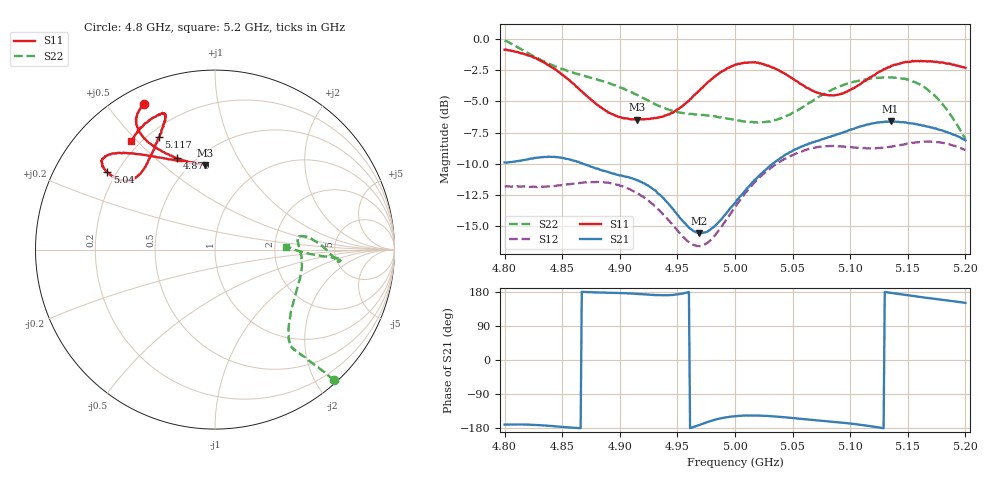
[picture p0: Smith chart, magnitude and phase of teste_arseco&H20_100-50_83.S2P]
! Network Analyzer HP8722D
! Hewlett-Packard
! Data name: Linha & Wilkinson
! Saver's name: Rodrigo Anjos
! Comments: Teste da utilização de aquisição
! continua pelo VNA HP8722D
! Time and date: 6/5/2025 13:15
!  Frequency  S11  S21  S12  S22
# HZ  S  MA R 50
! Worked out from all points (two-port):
!   401 points, 4.8 GHz to 5.2 GHz, reference 50 ohm
!   highest |S21| = -6.60 dB at 5.135 GHz (marker M1); lowest = -15.5 dB at 4.969 GHz (marker M2)
!   |S21| within 3 dB of the highest: 4.822 GHz to 4.853 GHz (30.6 MHz wide, 0.633 % of centre); 5.039 GHz to end of sweep
!   lowest |S11| = -6.5 dB at 4.915 GHz (marker M3), VSWR 2.81, Z = 29 + j35.4 ohm
!   |S11| at or under -10 dB: nowhere
!   |S22| runs from -8.0 to -0.1 dB; largest |S21 - S12| = 0.83
!   S11 on the Smith chart (normalised r, x): 4.8 GHz: 0.07, +0.62; 4.879 GHz: 0.40, +0.59; 5.04 GHz: 0.17, +0.31; 5.117 GHz: 0.24, +0.59; 5.2 GHz: 0.16, +0.48
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4.8e9  0.904 115.8  0.3202 -170.5  0.2569 -86.1  0.984 -47.5
4.832e9  0.8136 122.3  0.3362 -172.3  0.2561 -77.5  0.8196 -49.5
4.849e9  0.7237 122.2  0.3345 -176.5  0.2597 -71.8  0.7585 -50.5
4.867e9  0.6155 117.9  0.3182 179.8  0.2657 -67.3  0.716 -51.6
4.879e9  0.5505 112.5  0.3031 178.3  0.2671 -66.2  0.69 -51.8
4.9e9  0.4857 101.4  0.284 176.8  0.2587 -66.5  0.6392 -50.2
4.915e9  0.4753 96.5  0.2714 174.4  0.2415 -68.3  0.5962 -46.5
4.934e9  0.4842 99.0  0.2389 171.0  0.2069 -69.4  0.5382 -37.6
4.948e9  0.5149 107.8  0.2029 172.2  0.1757 -66.6  0.5117 -28.3
4.969e9  0.6204 123.4  0.1671 -171.4  0.1482 -47.8  0.4977 -15.0
4.981e9  0.6971 129.9  0.1761 -159.2  0.1608 -33.9  0.4896 -8.8
5e9  0.7861 137.4  0.2207 -148.4  0.2126 -21.5  0.4732 -0.3
5.019e9  0.8016 141.7  0.2775 -146.6  0.272 -18.3  0.4632 5.9
5.04e9  0.7393 144.3  0.3348 -150.4  0.3242 -18.4  0.4817 8.9
5.067e9  0.6212 142.1  0.3852 -158.2  0.3653 -20.6  0.5617 4.7
5.088e9  0.5961 132.9  0.4138 -163.9  0.3717 -23.7  0.6371 -1.8
5.117e9  0.7 116.7  0.4558 -174.5  0.3639 -27.0  0.6923 -5.5
5.134e9  0.7688 111.1  0.4658 177.9  0.3696 -28.8  0.7002 -4.8
5.135e9  0.7747 111.0  0.4679 177.3  0.3703 -28.8  0.7009 -4.8
5.164e9  0.8137 113.3  0.4492 165.0  0.3877 -36.0  0.6422 -3.6
5.181e9  0.802 119.4  0.4276 158.4  0.383 -41.3  0.5413 -2.7
5.2e9  0.765 127.5  0.3923 150.7  0.3586 -46.3  0.3974 2.4
